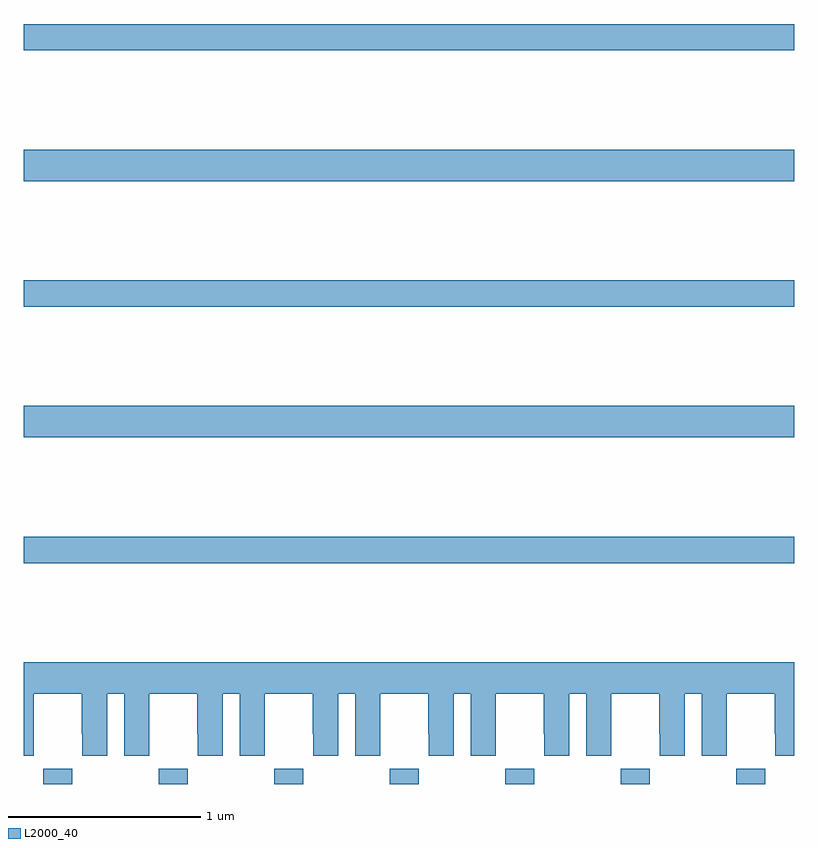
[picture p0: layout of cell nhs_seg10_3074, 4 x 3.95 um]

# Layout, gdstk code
import gdstk
lib = gdstk.Library(unit=1e-6, precision=1e-09)
def R(c, l, rs):  # rectangles x0, y0, x1, y1
    for r in rs: c.add(gdstk.rectangle(r[:2], r[2:], *l))
def A(c, l, x, y, w, h, nx, ny, dx, dy):  # array of equal rectangles
    R(c, l, [(x+i*dx, y+j*dy, x+i*dx+w, y+j*dy+h) for i in range(nx) for j in range(ny)])
def P(c, l, *ps):  # polygons
    for p in ps: c.add(gdstk.Polygon(p, *l))
L2000_40 = (2000, 40)

nhs_seg10_3074 = lib.new_cell('nhs_seg10_3074')
A(nhs_seg10_3074, L2000_40, 277.101, 1314.5, 0.15, 0.08, 7, 1, 0.6, 0)
A(nhs_seg10_3074, L2000_40, 277, 1315.648, 4, 0.136, 1, 3, 0, 1.332)
R(nhs_seg10_3074, L2000_40, [(277,1316.3,281,1316.464), (277,1317.632,281,1317.796)])
P(nhs_seg10_3074, L2000_40, [(277,1314.648),(277.05,1314.648),(277.05,1314.76),(277.051,1314.76),(277.051,1314.968),(277.301,1314.968),(277.301,1314.76),(277.302,1314.76),(277.302,1314.648),(277.432,1314.648),(277.432,1314.968),(277.52,1314.968),(277.52,1314.648),(277.65,1314.648),(277.65,1314.76),(277.651,1314.76),(277.651,1314.968),(277.901,1314.968),(277.901,1314.76),(277.902,1314.76),(277.902,1314.648),(278.032,1314.648),(278.032,1314.968),(278.12,1314.968),(278.12,1314.648),(278.25,1314.648),(278.25,1314.76),(278.251,1314.76),(278.251,1314.968),(278.501,1314.968),(278.501,1314.76),(278.502,1314.76),(278.502,1314.648),(278.632,1314.648),(278.632,1314.968),(278.72,1314.968),(278.72,1314.648),(278.85,1314.648),(278.85,1314.76),(278.851,1314.76),(278.851,1314.968),(279.101,1314.968),(279.101,1314.76),(279.102,1314.76),(279.102,1314.648),(279.232,1314.648),(279.232,1314.968),(279.32,1314.968),(279.32,1314.648),(279.45,1314.648),(279.45,1314.76),(279.451,1314.76),(279.451,1314.968),(279.701,1314.968),(279.701,1314.76),(279.702,1314.76),(279.702,1314.648),(279.832,1314.648),(279.832,1314.968),(279.92,1314.968),(279.92,1314.648),(280.05,1314.648),(280.05,1314.76),(280.051,1314.76),(280.051,1314.968),(280.301,1314.968),(280.301,1314.76),(280.302,1314.76),(280.302,1314.648),(280.432,1314.648),(280.432,1314.968),(280.52,1314.968),(280.52,1314.648),(280.65,1314.648),(280.65,1314.76),(280.651,1314.76),(280.651,1314.968),(280.901,1314.968),(280.901,1314.76),(280.902,1314.76),(280.902,1314.648),(281,1314.648),(281,1315.132),(277,1315.132)])

lib.write_gds('nhs_seg10_3074.gds')
